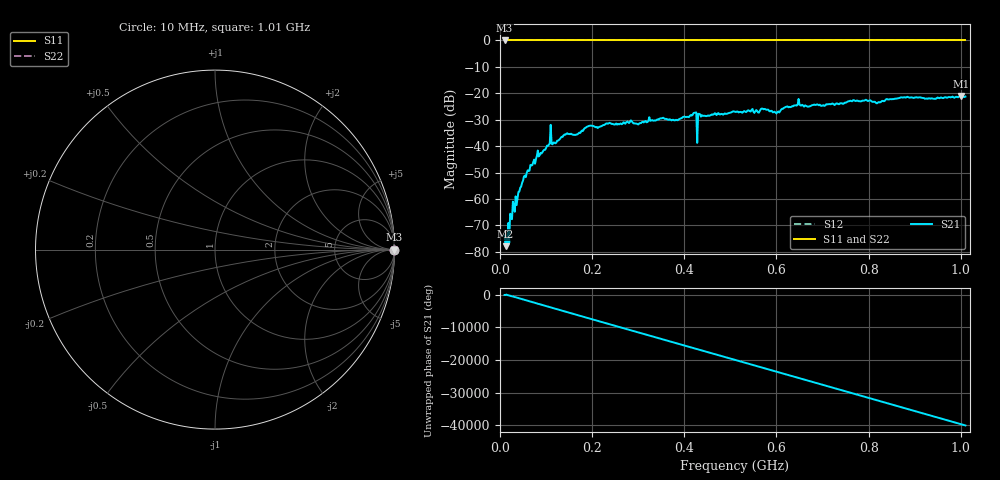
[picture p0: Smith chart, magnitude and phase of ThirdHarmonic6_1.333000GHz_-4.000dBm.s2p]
! 8/16/2025 2:54:37 PM
! C:\ANRITSUVNA\TEMP\TEMP.S2P
! CHANNEL.1
! TR.MEASUREMENT
! RAW.DATA
! RF.CORRECTION.OFF
! AVERAGING.OFF
! IF.BANDWIDTH: 5KHZ
! SWEEPTYPE:  FREQ.SWEEP(Linear)
! Reference Plane Port Info
! PORT:  PORT1  PORT2
! DISTANCE:  0  m  0  m
! TIME:  0  s  0  s
! PHASE.OFFSET:  0  deg.  0  deg.
! LOSS:  0  dB  0  dB
! REF.LOSS:  0  dB  0  dB
! REF.FREQ:  0  Hz  0  Hz
! Power Info
! POWER:  -20  dBm  -20  dBm
! EFF.POWER:  -20  dBm  -20  dBm
! SOURCE.ATTEN:  0  dB  0  dB
! TEST.ATTEN:  0  dB  0  dB
# GHZ S RI R 50.0
! FREQ.GHZ  S11RE  S11IM  S21RE  S21IM  S12RE  S12IM  S22RE  S22IM
!; PortSelection: Port_12
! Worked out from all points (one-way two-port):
!   501 points, 10 MHz to 1.01 GHz, reference 50 ohm
!   highest |S21| = -20.97 dB at 1 GHz (marker M1); lowest = -77.9 dB at 12 MHz (marker M2)
!   lowest |S11| = 0.0 dB at 10 MHz (marker M3)
!   |S11| at or under -10 dB: nowhere
!   |S22| runs from 0.0 to 0.0 dB; largest |S21 - S12| = 1.1
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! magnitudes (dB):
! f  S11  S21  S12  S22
! 10 MHz  0.0  -73.7  0.0  0.0
! 12 MHz  0.0  -77.9  0.0  0.0
! 16 MHz  0.0  -76.3  0.0  0.0
! 26 MHz  0.0  -67.7  0.0  0.0
! 48 MHz  0.0  -53.8  0.0  0.0
! 78 MHz  0.0  -44.9  0.0  0.0
! 106 MHz  0.0  -39.4  0.0  0.0
! 178 MHz  0.0  -34.1  0.0  0.0
! 194 MHz  0.0  -32.3  0.0  0.0
! 344 MHz  0.0  -30.0  0.0  0.0
! 382 MHz  0.0  -30.0  0.0  0.0
! 422 MHz  0.0  -27.4  0.0  0.0
! 424 MHz  0.0  -27.4  0.0  0.0
! 432 MHz  0.0  -27.8  0.0  0.0
! 434 MHz  0.0  -27.9  0.0  0.0
! 510 MHz  0.0  -26.9  0.0  0.0
! 602 MHz  0.0  -27.1  0.0  0.0
! 644 MHz  0.0  -24.6  0.0  0.0
! 678 MHz  0.0  -24.5  0.0  0.0
! 844 MHz  0.0  -22.3  0.0  0.0
! 1 GHz  0.0  -21.0  0.0  0.0
! 1.01 GHz  0.0  -21.2  0.0  0.0
